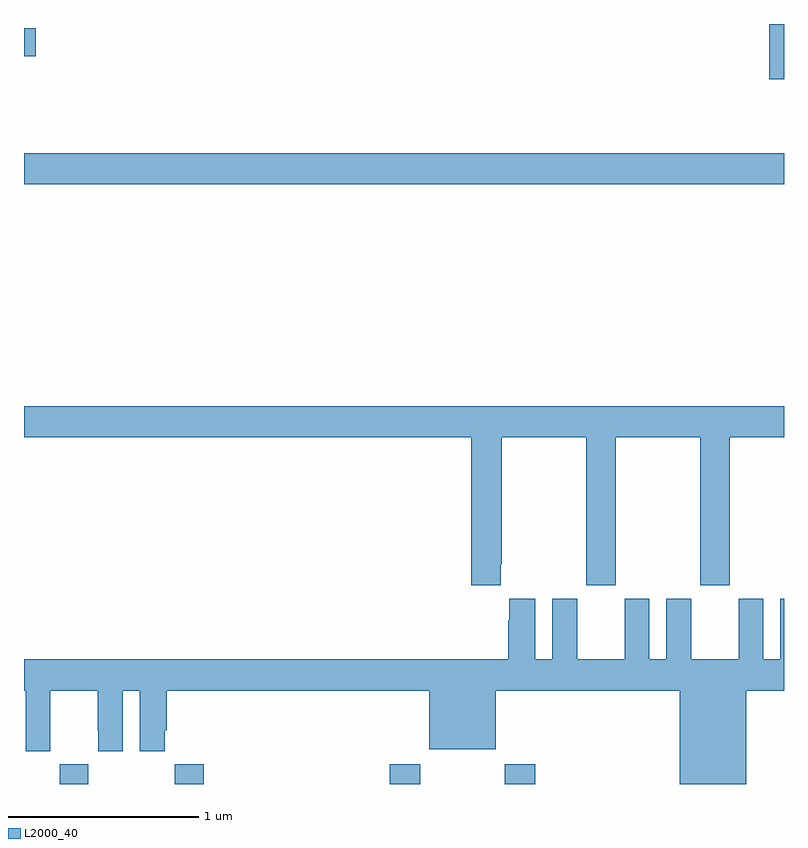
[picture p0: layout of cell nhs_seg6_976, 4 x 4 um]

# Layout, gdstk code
import gdstk
lib = gdstk.Library(unit=1e-6, precision=1e-09)
def R(c, l, rs):  # rectangles x0, y0, x1, y1
    for r in rs: c.add(gdstk.rectangle(r[:2], r[2:], *l))
def P(c, l, *ps):  # polygons
    for p in ps: c.add(gdstk.Polygon(p, *l))
L2000_40 = (2000, 40)

nhs_seg6_976 = lib.new_cell('nhs_seg6_976')
R(nhs_seg6_976, L2000_40, [(171.189,957.5,171.339,957.604), (171.793,957.5,171.947,957.604), (172.925,957.5,173.085,957.604), (173.53,957.5,173.69,957.604), (171,960.656,175,960.82), (174.923,961.209,175,961.5), (171,961.331,171.061,961.478)])
P(nhs_seg6_976, L2000_40, [(173.509,958.657),(173.514,958.657),(173.514,959.324),(173.959,959.324),(173.959,958.545),(174.114,958.545),(174.114,959.324),(174.559,959.324),(174.559,958.545),(174.714,958.545),(174.714,959.324),(175,959.324),(175,959.488),(171,959.488),(171,959.324),(173.354,959.324),(173.354,958.545),(173.509,958.545)],
  [(174.802,957.992),(175,957.992),(175,958.474),(174.98,958.474),(174.98,958.156),(174.892,958.156),(174.892,958.474),(174.761,958.474),(174.761,958.156),(174.511,958.156),(174.511,958.474),(174.38,958.474),(174.38,958.156),(174.292,958.156),(174.292,958.474),(174.161,958.474),(174.161,958.156),(173.911,958.156),(173.911,958.474),(173.78,958.474),(173.78,958.156),(173.692,958.156),(173.692,958.474),(173.555,958.474),(173.555,958.361),(173.549,958.361),(173.549,958.156),(171,958.156),(171,957.992),(171.008,957.992),(171.008,957.672),(171.138,957.672),(171.138,957.784),(171.139,957.784),(171.139,957.992),(171.389,957.992),(171.389,957.784),(171.39,957.784),(171.39,957.672),(171.52,957.672),(171.52,957.992),(171.608,957.992),(171.608,957.672),(171.742,957.672),(171.742,957.784),(171.752,957.784),(171.752,957.992),(173.132,957.992),(173.132,957.683),(173.482,957.683),(173.482,957.992),(174.452,957.992),(174.452,957.5),(174.802,957.5)])

lib.write_gds('nhs_seg6_976.gds')
